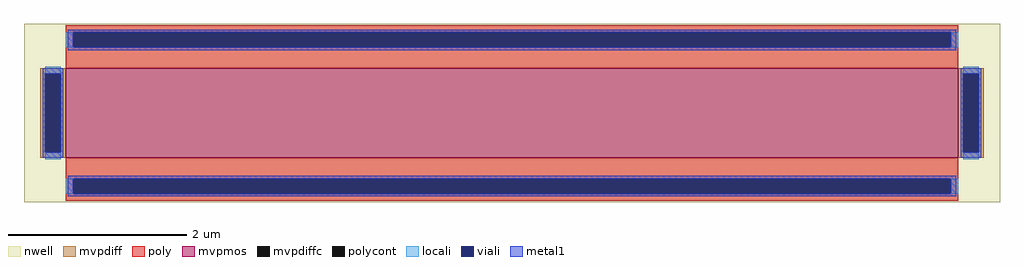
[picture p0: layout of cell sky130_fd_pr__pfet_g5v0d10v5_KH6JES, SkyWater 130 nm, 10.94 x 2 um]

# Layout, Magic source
magic
tech sky130A
magscale 1 2
<< nwell >>
rect -1094 -200 1094 200
<< mvpmos >>
rect -1000 -100 1000 100
<< mvpdiff >>
rect -1058 88 -1000 100
rect -1058 -88 -1046 88
rect -1012 -88 -1000 88
rect -1058 -100 -1000 -88
rect 1000 88 1058 100
rect 1000 -88 1012 88
rect 1046 -88 1058 88
rect 1000 -100 1058 -88
<< mvpdiffc >>
rect -1046 -88 -1012 88
rect 1012 -88 1046 88
<< poly >>
rect -1000 181 1000 197
rect -1000 147 -984 181
rect 984 147 1000 181
rect -1000 100 1000 147
rect -1000 -147 1000 -100
rect -1000 -181 -984 -147
rect 984 -181 1000 -147
rect -1000 -197 1000 -181
<< polycont >>
rect -984 147 984 181
rect -984 -181 984 -147
<< locali >>
rect -1000 147 -984 181
rect 984 147 1000 181
rect -1046 88 -1012 104
rect -1046 -104 -1012 -88
rect 1012 88 1046 104
rect 1012 -104 1046 -88
rect -1000 -181 -984 -147
rect 984 -181 1000 -147
<< viali >>
rect -984 147 984 181
rect -1046 -88 -1012 88
rect 1012 -88 1046 88
rect -984 -181 984 -147
<< metal1 >>
rect -996 181 996 187
rect -996 147 -984 181
rect 984 147 996 181
rect -996 141 996 147
rect -1052 88 -1006 100
rect -1052 -88 -1046 88
rect -1012 -88 -1006 88
rect -1052 -100 -1006 -88
rect 1006 88 1052 100
rect 1006 -88 1012 88
rect 1046 -88 1052 88
rect 1006 -100 1052 -88
rect -996 -147 996 -141
rect -996 -181 -984 -147
rect 984 -181 996 -147
rect -996 -187 996 -181
<< properties >>
string gencell sky130_fd_pr__pfet_g5v0d10v5
string library sky130
string parameters w 1 l 10 m 1 nf 1 diffcov 100 polycov 100 guard 0 glc 0 grc 0 gtc 0 gbc 0 tbcov 100 rlcov 100 topc 1 botc 1 poverlap 0 doverlap 1 lmin 0.50 wmin 0.42 compatible {sky130_fd_pr__pfet_01v8  sky130_fd_pr__pfet_01v8_lvt sky130_fd_pr__pfet_01v8_hvt  sky130_fd_pr__pfet_g5v0d10v5} full_metal 0 viasrc 100 viadrn 100 viagate 100 viagb 0 viagr 0 viagl 0 viagt 0
<< end >>
